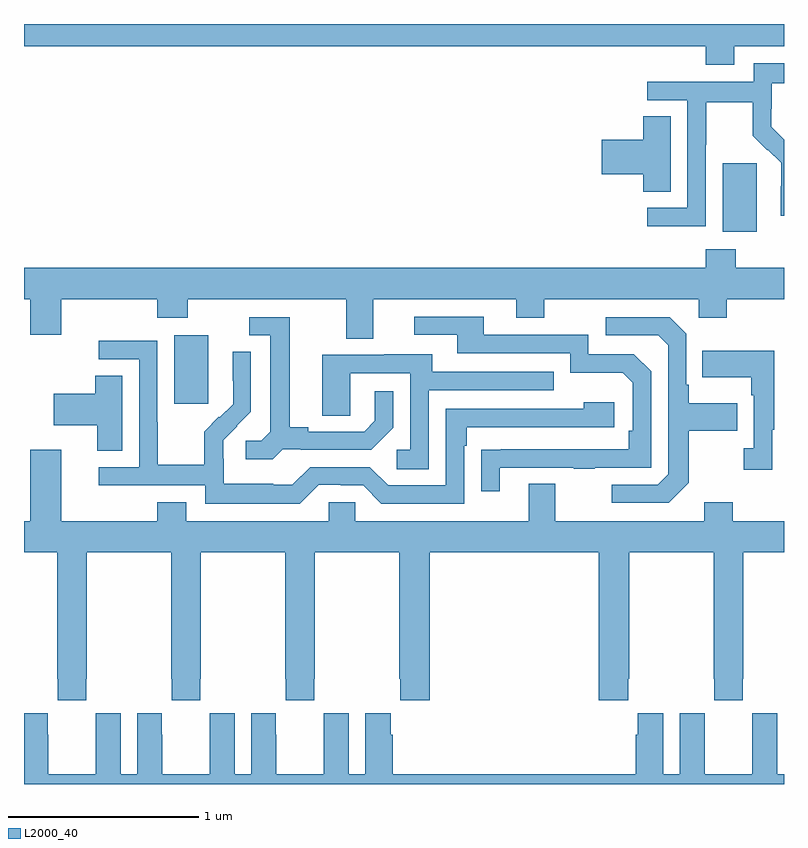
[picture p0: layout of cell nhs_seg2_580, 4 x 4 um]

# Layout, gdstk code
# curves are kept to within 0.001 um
import gdstk
lib = gdstk.Library(unit=1e-6, precision=1e-09)
def R(c, l, rs):  # rectangles x0, y0, x1, y1
    for r in rs: c.add(gdstk.rectangle(r[:2], r[2:], *l))
def P(c, l, *ps):  # polygons
    for p in ps: c.add(gdstk.Polygon(p, *l))
L2000_40 = (2000, 40)

nhs_seg2_580 = lib.new_cell('nhs_seg2_580')
R(nhs_seg2_580, L2000_40, [(141.791,597.801,141.97,598.162), (144.677,598.706,144.856,599.067)])
P(nhs_seg2_580, L2000_40, [(144.739,599.684),(145,599.684),(145,599.8),(141,599.8),(141,599.684),(144.587,599.684),(144.587,599.585),(144.739,599.585)],
  [(144.588,599.164),(144.591,599.164),(144.591,599.388),(144.835,599.388),(144.835,599.213),(144.912,599.136),(144.915,599.139),(144.986,599.069),(144.986,598.946),(144.984,598.946),(144.984,598.792),(145,598.792),(145,599.192),(144.934,599.258),(144.934,599.355),(144.936,599.355),(144.936,599.489),(145,599.489),(145,599.593),(144.84,599.593),(144.84,599.496),(144.279,599.496),(144.279,599.4),(144.492,599.4),(144.492,598.833),(144.279,598.833),(144.279,598.735),(144.588,598.735)],
  [(144.403,599.315),(144.26,599.315),(144.26,599.192),(144.042,599.192),(144.042,599.009),(144.26,599.009),(144.26,598.918),(144.403,598.918)],
  [(142.837,598.352),(143.591,598.352),(143.591,598.253),(143.739,598.253),(143.739,598.352),(144.552,598.352),(144.552,598.253),(144.699,598.253),(144.699,598.352),(145,598.352),(145,598.516),(144.747,598.516),(144.747,598.615),(144.587,598.615),(144.587,598.516),(141,598.516),(141,598.352),(141.032,598.352),(141.032,598.164),(141.196,598.164),(141.196,598.352),(141.701,598.352),(141.701,598.253),(141.861,598.253),(141.861,598.352),(142.697,598.352),(142.697,598.144),(142.837,598.144)],
  [(143.503,597.465),(143.893,597.465),(143.893,597.46),(144.005,597.46),(144.005,597.465),(144.3,597.465),(144.3,597.972),(144.21,598.062),(143.97,598.062),(143.97,598.164),(143.419,598.164),(143.419,598.26),(143.055,598.26),(143.055,598.164),(143.279,598.164),(143.279,598.068),(143.874,598.068),(143.874,597.965),(144.151,597.965),(144.204,597.912),(144.204,597.658),(144.184,597.658),(144.184,597.561),(143.407,597.56),(143.407,597.342),(143.503,597.342)],
  [(144.499,597.385),(144.499,597.658),(144.755,597.658),(144.755,597.805),(144.499,597.805),(144.499,597.901),(144.486,597.901),(144.486,598.17),(144.399,598.257),(144.063,598.257),(144.063,598.161),(144.339,598.161),(144.39,598.11),(144.39,597.429),(144.336,597.375),(144.093,597.375),(144.093,597.279),(144.393,597.279)],
  [(142.362,597.561),(142.456,597.561),(142.456,597.558),(142.828,597.558),(142.944,597.674),(142.944,597.868),(142.847,597.868),(142.847,597.711),(142.79,597.654),(142.495,597.654),(142.495,597.677),(142.399,597.677),(142.399,598.257),(142.185,598.257),(142.185,598.161),(142.295,598.161),(142.295,597.653),(142.248,597.606),(142.167,597.606),(142.167,597.509),(142.31,597.509)],
  [(142.551,597.375),(142.667,597.375),(142.667,597.372),(142.785,597.372),(142.881,597.276),(143.316,597.276),(143.316,597.581),(143.329,597.581),(143.329,597.678),(144.106,597.678),(144.106,597.808),(143.945,597.808),(143.945,597.774),(143.22,597.774),(143.22,597.372),(142.917,597.372),(142.821,597.468),(142.506,597.468),(142.413,597.375),(142.313,597.375),(142.313,597.379),(142.05,597.379),(142.05,597.513),(142.048,597.513),(142.048,597.61),(142.194,597.758),(142.194,598.076),(142.098,598.076),(142.098,597.922),(142.1,597.922),(142.1,597.8),(142.029,597.729),(142.026,597.732),(141.949,597.655),(141.949,597.481),(141.705,597.481),(141.705,597.704),(141.702,597.704),(141.702,598.134),(141.393,598.134),(141.393,598.035),(141.606,598.035),(141.606,597.468),(141.393,597.468),(141.393,597.372),(141.954,597.372),(141.954,597.275),(142.451,597.275)],
  [(144.937,597.665),(144.949,597.665),(144.949,598.081),(144.571,598.081),(144.571,597.941),(144.828,597.941),(144.828,597.845),(144.84,597.845),(144.84,597.566),(144.789,597.566),(144.789,597.453),(144.937,597.453)],
  [(143.13,597.873),(143.789,597.873),(143.789,597.969),(143.149,597.969),(143.149,598.063),(142.895,598.063),(142.895,598.059),(142.571,598.059),(142.571,597.739),(142.716,597.739),(142.716,597.963),(143.034,597.963),(143.034,597.558),(142.962,597.558),(142.962,597.457),(143.13,597.457)],
  [(141.517,597.95),(141.374,597.95),(141.374,597.855),(141.156,597.855),(141.156,597.689),(141.386,597.689),(141.386,597.553),(141.517,597.553)],
  [(141.853,597.283),(141.701,597.283),(141.701,597.184),(141.196,597.184),(141.196,597.559),(141.032,597.559),(141.032,597.184),(141,597.184),(141,597.02),(141.175,597.02),(141.175,596.353),(141.177,596.353),(141.177,596.241),(141.327,596.241),(141.327,596.353),(141.33,596.353),(141.33,597.02),(141.775,597.02),(141.775,596.353),(141.777,596.353),(141.777,596.241),(141.927,596.241),(141.927,596.353),(141.93,596.353),(141.93,597.02),(142.375,597.02),(142.375,596.353),(142.377,596.353),(142.377,596.241),(142.527,596.241),(142.527,596.353),(142.53,596.353),(142.53,597.02),(142.975,597.02),(142.975,596.353),(142.981,596.353),(142.981,596.241),(143.135,596.241),(143.135,597.02),(144.026,597.02),(144.026,596.241),(144.179,596.241),(144.179,596.353),(144.186,596.353),(144.186,597.02),(144.631,597.02),(144.631,596.353),(144.633,596.353),(144.633,596.241),(144.783,596.241),(144.783,596.353),(144.786,596.353),(144.786,597.02),(145,597.02),(145,597.184),(144.729,597.184),(144.729,597.283),(144.581,597.283),(144.581,597.184),(143.797,597.184),(143.797,597.379),(143.657,597.379),(143.657,597.184),(142.743,597.184),(142.743,597.282),(142.605,597.282),(142.605,597.184),(141.853,597.184)],
  [(144.834,596.173),(144.834,596.06),(144.833,596.06),(144.833,595.852),(144.583,595.852),(144.583,596.06),(144.582,596.06),(144.582,596.173),(144.452,596.173),(144.452,595.852),(144.364,595.852),(144.364,596.173),(144.23,596.173),(144.23,596.06),(144.221,596.06),(144.221,595.852),(142.94,595.852),(142.94,596.06),(142.93,596.06),(142.93,596.173),(142.796,596.173),(142.796,595.852),(142.708,595.852),(142.708,596.173),(142.578,596.173),(142.578,596.06),(142.577,596.06),(142.577,595.852),(142.327,595.852),(142.327,596.06),(142.326,596.06),(142.326,596.173),(142.196,596.173),(142.196,595.852),(142.108,595.852),(142.108,596.173),(141.978,596.173),(141.978,596.06),(141.977,596.06),(141.977,595.852),(141.727,595.852),(141.727,596.06),(141.726,596.06),(141.726,596.173),(141.596,596.173),(141.596,595.852),(141.508,595.852),(141.508,596.173),(141.378,596.173),(141.378,596.06),(141.377,596.06),(141.377,595.852),(141.127,595.852),(141.127,596.06),(141.126,596.06),(141.126,596.173),(141,596.173),(141,595.8),(145,595.8),(145,595.852),(144.964,595.852),(144.964,596.173)])

lib.write_gds('nhs_seg2_580.gds')
